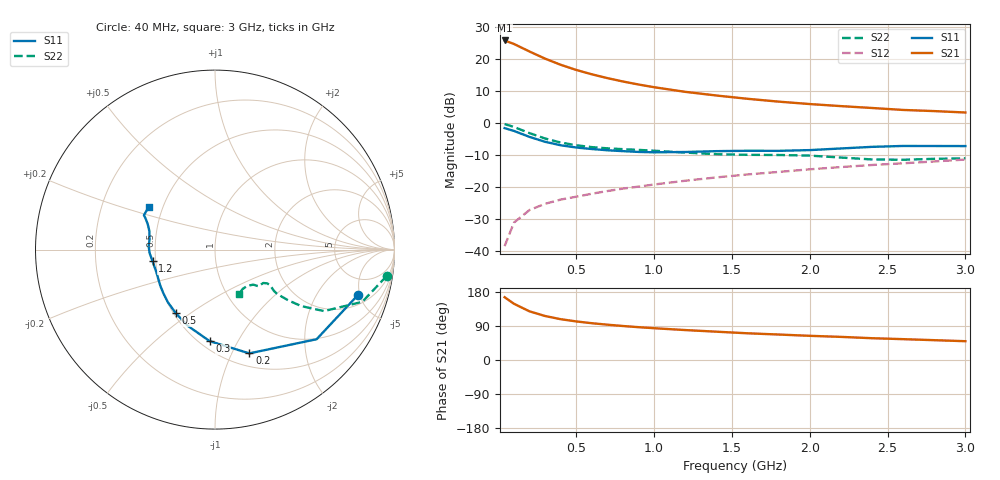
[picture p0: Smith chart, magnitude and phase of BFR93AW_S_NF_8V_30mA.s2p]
! Filename:  BFR93AWH.S2P  Version:  4.0
! Philips part #: BFR93AW  Date: Jun 1994
! Bias condition: Vce=8V, Ic=30mA
#  MHz  S  MA  R  50
! Freq  S11  S21  S12  S22  !GUM [dB]
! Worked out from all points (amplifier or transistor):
!   21 points, 40 MHz to 3 GHz, reference 50 ohm
!   highest |S21| = 25.8 dB at 40 MHz (marker M1)
!   |S21| within 3 dB of that: start of sweep to 180.9 MHz
!   unconditionally stable (mu >= 1): 919.8 MHz to end of sweep
!   at 300 MHz: K = 0.58, MSG = 22.7 dB, |S12| = -25.2 dB
!   at 1 GHz: K = 1.02, MAG = 14.2 dB, |S12| = -19.2 dB
!   at 3 GHz: K = 1.04, MAG = 6.2 dB, |S12| = -11.4 dB
!   lowest NFmin = 2.10 dB at 500 MHz
!   S11 on the Smith chart (normalised r, x): 40 MHz: 2.85, -4.78; 200 MHz: 0.64, -1.17; 300 MHz: 0.56, -0.77; 500 MHz: 0.51, -0.44; 1.2 GHz: 0.48, -0.07; 3 GHz: 0.42, +0.25
40  0.835 -17.7  19.5 165.7  0.012 80.3  0.967 -8.8
100  0.755 -41.4  17.19 148.4  0.028 69.7  0.871 -19.5
200  0.609 -71.7  13.11 128.4  0.044 60.1  0.698 -29.4
300  0.511 -93.3  10.14 116.1  0.055 56.2  0.575 -33.2
400  0.451 -109.6  8.143 107.7  0.064 56.1  0.498 -34.7
500  0.416 -121.7  6.762 101.8  0.071 56.9  0.451 -35.2
600  0.394 -131.7  5.781 97.1  0.079 58.4  0.422 -35.4
700  0.377 -139.7  5.04 93.2  0.087 59.7  0.404 -35.1
800  0.365 -146.7  4.464 89.7  0.095 61.2  0.392 -34.6
900  0.355 -153.3  4.005 86.6  0.102 62.3  0.382 -33.9
1000  0.35 -159.2  3.634 83.9  0.11 63.3  0.371 -33.2
1200  0.354 -169.6  3.077 79.0  0.126 65.0  0.347 -32.8
1400  0.365 -177.1  2.698 74.7  0.142 66.3  0.327 -34.7
1600  0.37 177.2  2.397 70.5  0.158 66.8  0.32 -38.2
1800  0.369 171.5  2.164 67.2  0.173 67.8  0.318 -39.9
2000  0.379 164.5  1.984 63.8  0.19 68.6  0.311 -40.6
2200  0.402 159.0  1.842 61.0  0.206 69.1  0.29 -42.4
2400  0.426 155.6  1.722 57.5  0.222 69.4  0.271 -47.8
2600  0.44 154.2  1.605 55.0  0.236 69.3  0.268 -55.0
2800  0.439 151.2  1.54 52.3  0.252 69.7  0.277 -59.6
3000  0.438 146.8  1.464 49.6  0.27 69.7  0.282 -62.1
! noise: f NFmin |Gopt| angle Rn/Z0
500  2.1  0.178  37.4  0.231
1000  2.6  0.193  144.2  0.32
2000  3.6  0.509  -154.2  0.22
